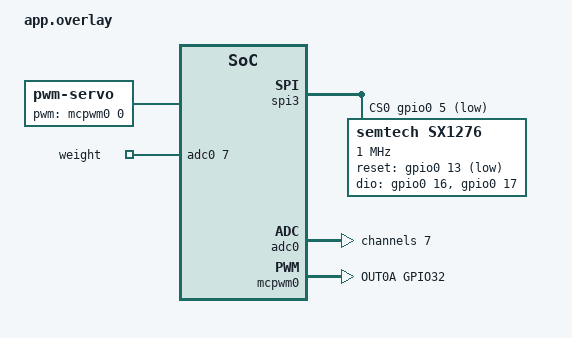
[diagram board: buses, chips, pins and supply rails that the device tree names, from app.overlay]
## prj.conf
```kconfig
CONFIG_GPIO=y
CONFIG_ADC=y
CONFIG_PWM=y
CONFIG_MIN_HEAP=y
CONFIG_ZMS=y
CONFIG_FLASH=y
CONFIG_FLASH_MAP=y

CONFIG_LOG=y

CONFIG_LORA=y
CONFIG_LORAWAN=y
CONFIG_LORAWAN_SYSTEM_MAX_RX_ERROR=100
CONFIG_LORAWAN_REGION_EU868=y

CONFIG_LORIS=y
CONFIG_MAIN_STACK_SIZE=16384
CONFIG_SYSTEM_WORKQUEUE_STACK_SIZE=4096

CONFIG_LORIS_RECONNECT_INTERVAL=20



# CONFIG_PM=y
# CONFIG_PM_DEVICE=y
# CONFIG_PM_LOG_LEVEL_DBG=y
# 
# CONFIG_COUNTER=y
CONFIG_CBPRINTF_FP_SUPPORT=y
```

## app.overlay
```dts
/ {
  aliases {
    lora0 = &sx1276;
  };

  servo: servo {
    compatible = "pwm-servo";
    pwms = <&mcpwm0 0 PWM_MSEC(20) PWM_POLARITY_NORMAL>;
    min-pulse = <PWM_USEC(500)>;
    max-pulse = <PWM_USEC(2500)>;
  };

  zephyr,user {
    io-channels = <&adc0 7>;
    io-channel-names = "weight";
  };
};


&spi3 {
  status = "okay";
  cs-gpios = <&gpio0 5 (GPIO_ACTIVE_LOW | GPIO_PULL_UP)>;

  sx1276: lora@0 {
    compatible = "semtech,sx1276";
    reg = <0>;

    reset-gpios = <&gpio0 13 GPIO_ACTIVE_LOW>;

    // order of dio pins matters - idx 0 -> DIO0, idx 1 -> DIO1 and so on
    dio-gpios = <&gpio0 16 (GPIO_PULL_DOWN | GPIO_ACTIVE_HIGH)>,
      <&gpio0 17 (GPIO_PULL_DOWN | GPIO_ACTIVE_HIGH)>;
    spi-max-frequency = <1000000>;
    power-amplifier-output = "pa-boost";
  };
};


&adc0 {
  status = "okay";
  #address-cells = <1>;
  #size-cells = <0>;

  channel@7 {
    reg = <7>;
    zephyr,gain = "ADC_GAIN_1_4";
    zephyr,reference = "ADC_REF_INTERNAL";
    zephyr,acquisition-time = <ADC_ACQ_TIME_DEFAULT>;
    zephyr,resolution = <12>;
    zephyr,vref-mv = <1100>;
  };
};


&pinctrl {
  mcpwm0_default: mcpwm0_default {
    group1 {
      pinmux = <MCPWM0_OUT0A_GPIO32>;
      output-enable;
    };
  };
};


&mcpwm0 {
  pinctrl-0 = <&mcpwm0_default>;
  pinctrl-names = "default";
  prescale = <0>;
  prescale-timer0 = <255>;
  status = "okay";
};
```

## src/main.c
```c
#include "loris/lorawan.h"
#include "loris/loris.h"
#include "loris/models/capabilities.h"
#include "loris/models/function.h"
#include "loris/models/report.h"
#include "loris/models/sensor.h"
#include "loris/result.h"
#include "zephyr/drivers/adc.h"
#include "zephyr/dt-bindings/pwm/pwm.h"
#include "zephyr/kernel.h"
#include "zephyr/sleep.h"

#include <zephyr/device.h>
#include <zephyr/drivers/pwm.h>
#include <zephyr/logging/log.h>
#include <zephyr/lorawan/lorawan.h>
#include <zephyr/sys/printk.h>

#define LORAWAN_DEV_EUI { 0x53, 0xB9, 0xFB, 0xD4, 0x29, 0x1B, 0x9E, 0x36 }
#define LORAWAN_JOIN_EUI { 0x5C, 0xE1, 0xC1, 0x6C, 0x81, 0x69, 0xFC, 0xBA }
#define LORAWAN_APP_KEY                                                        \
  { 0xF9, 0xC6, 0xC2, 0xA7, 0x30, 0xF3, 0xA6, 0xA8,                            \
    0xC4, 0xB2, 0xBE, 0x10, 0xD3, 0x0D, 0x91, 0x45 }

LOG_MODULE_REGISTER(lorawan_main_test, LOG_LEVEL_INF);

#define REJOIN_RETRY_SECONDS 30

#define STEP PWM_USEC(100)

static const struct pwm_dt_spec servo = PWM_DT_SPEC_GET(DT_NODELABEL(servo));
static const uint32_t min_pulse = DT_PROP(DT_NODELABEL(servo), min_pulse);
static const uint32_t max_pulse = DT_PROP(DT_NODELABEL(servo), max_pulse);
static const struct adc_dt_spec weight_sensor_adc =
    ADC_DT_SPEC_GET_BY_NAME(DT_PATH(zephyr_user), weight);

static int32_t weight_sensor_adc_buf[1] = { 0 };
static struct adc_sequence weight_sensor_adc_seq = {
  .buffer = &weight_sensor_adc_buf,
  .buffer_size = sizeof(weight_sensor_adc_buf),
};

bool read_weight(
    const struct adc_dt_spec* adc,
    const struct adc_sequence* adc_seq,
    int32_t* adc_buf,
    float* out
) {
  if (adc_read_dt(adc, adc_seq) < 0) {
    LOG_ERR("Error reading weight raw");
    return false;
  }

  LOG_INF("Weight raw=%d", adc_buf[0]);

  int32_t weight_mv = adc_buf[0];
  if (adc_raw_to_millivolts_dt(adc, &weight_mv) != 0) {
    LOG_WRN("Couldn't convert raw weight to mV");
    return false;
  }

  LOG_INF("Weight as voltage U=%dmV", weight_mv);

  *out = weight_mv;

  return true;
}

result_t report_weight(report_t* out, sensor_t* sensor) {
  LOG_INF("Reporting weight");

  float weight;
  if (!read_weight(
          &weight_sensor_adc,
          &weight_sensor_adc_seq,
          weight_sensor_adc_buf,
          &weight
      )) {
    LOG_WRN("Reading moisture failed");
    return ERROR;
  }

  *out = (report_t){
    .sensor_id = sensor->id,
    .which_value = REPORT_VALUE_FLOAT,
    .value.float_val = weight,
  };

  return OK;
}

result_t dispense_food(void* duration) {
  int* dispenser_duration = duration;

  if (!pwm_is_ready_dt(&servo)) {
    LOG_ERR("PWM servo device not ready");
    return ERROR;
  }

  int ret = pwm_set_pulse_dt(&servo, max_pulse);
  if (ret < 0) {
    LOG_ERR("pwm_set_pulse_dt failed: %d", ret);
    return ERROR;
  }

  k_sleep(K_SECONDS(*dispenser_duration));

  ret = pwm_set_pulse_dt(&servo, min_pulse);
  return OK;
};

bool setup_devices(void) {
  LOG_INF("Setting up devices");

  LOG_INF("Setting up servo");
  if (!pwm_is_ready_dt(&servo)) {
    LOG_ERR("Servo is not ready!");
    return false;
  }
  if (adc_channel_setup_dt(&weight_sensor_adc)) {
    LOG_ERR("Error configuring weight sensor ADC!");
    return false;
  }
  adc_sequence_init_dt(&weight_sensor_adc, &weight_sensor_adc_seq);

  LOG_INF("Devices setup finished successfully");
  return true;
}

int main() {

  uint8_t dev_eui[] = LORAWAN_DEV_EUI;
  uint8_t join_eui[] = LORAWAN_JOIN_EUI;
  uint8_t app_key[] = LORAWAN_APP_KEY;

  lr_lw_join_otaa_config_t cfg = {
    .dev_eui = dev_eui,
    .join_eui = join_eui,
    .app_key = app_key,
    .nwk_key = app_key,
  };

  while (lr_lw_join_otaa(&cfg, LORAWAN_REGION_EU868) != LR_LW_OK) {
    LOG_ERR("Joining LoRaWAN failed. Trying again in %i", REJOIN_RETRY_SECONDS);
    k_sleep(K_SECONDS(REJOIN_RETRY_SECONDS));
  }

  lr_lw_set_adr_mode(false);
  if (lr_lw_set_datarate(LORAWAN_DR_3) != LR_LW_OK) {
    LOG_ERR("Failed to set datarate!");
  }
  lr_lw_set_adr_mode(true);

  capabilities_t capabilities;

  capabilities_init(&capabilities, "food_dispenser", DEVICE_CLASS_A);
  capabilities_add_sensor(
      &capabilities,
      "Bowl weight",
      "The weight of the feeding bowl",
      SENSOR_VALUE_TYPE_FLOAT,
      SENSOR_SEMANTICS_WEIGHT,
      "g",
      &report_weight,
      30
  );

  capabilities_add_function(
      &capabilities,
      "Food dispenser",
      "Dispenses more food",
      FUNC_ARG_TYPE_VOID,
      &dispense_food,
      30
  );

  if (!setup_devices()) {
    return -1;
  }

  lr_start(&capabilities);

  return 0;
}
```
